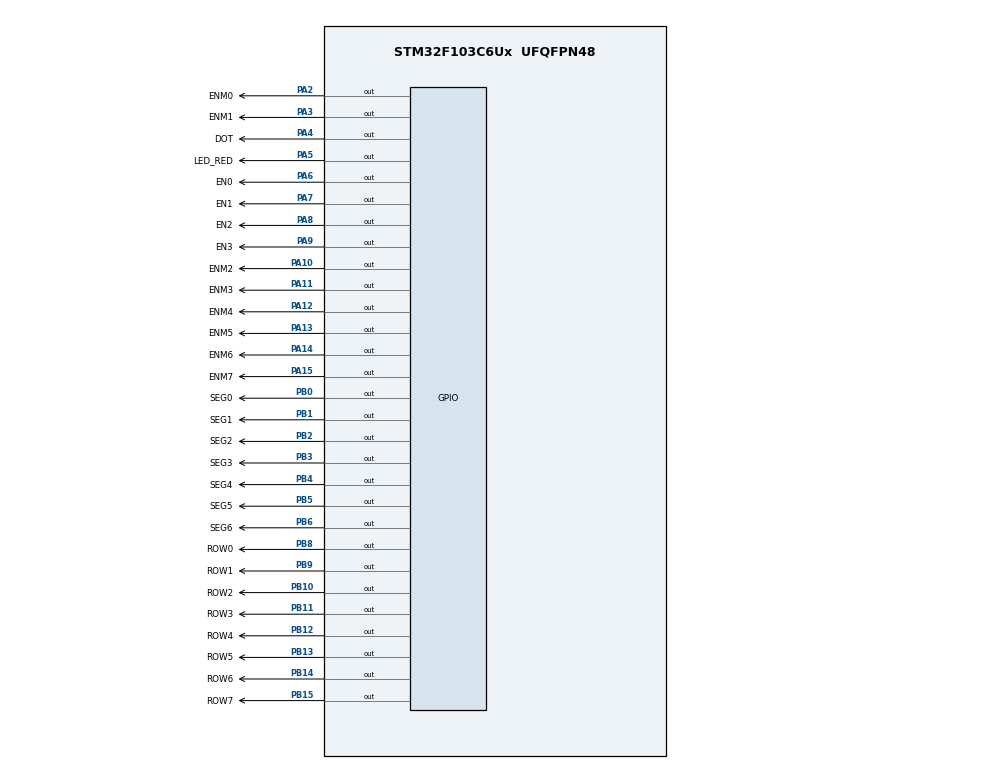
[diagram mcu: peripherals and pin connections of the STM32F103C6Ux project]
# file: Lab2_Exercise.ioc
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Mcu.Family=STM32F1
Mcu.Name=STM32F103C6Ux
Mcu.Package=UFQFPN48
NVIC.PriorityGroup=NVIC_PRIORITYGROUP_4
NVIC.TIM2_IRQn=true\:0\:0\:false\:false\:true\:true\:true
PA10.GPIO_Label=ENM2
PA10.Signal=GPIO_Output
PA11.GPIO_Label=ENM3
PA11.Signal=GPIO_Output
PA12.GPIO_Label=ENM4
PA12.Signal=GPIO_Output
PA13.GPIO_Label=ENM5
PA13.Signal=GPIO_Output
PA14.GPIO_Label=ENM6
PA14.Signal=GPIO_Output
PA15.GPIO_Label=ENM7
PA15.Signal=GPIO_Output
PA2.GPIO_Label=ENM0
PA2.Signal=GPIO_Output
PA3.GPIO_Label=ENM1
PA3.Signal=GPIO_Output
PA4.GPIO_Label=DOT
PA4.Signal=GPIO_Output
PA5.GPIO_Label=LED_RED
PA5.Signal=GPIO_Output
PA6.GPIO_Label=EN0
PA6.Signal=GPIO_Output
PA7.GPIO_Label=EN1
PA7.Signal=GPIO_Output
PA8.GPIO_Label=EN2
PA8.Signal=GPIO_Output
PA9.GPIO_Label=EN3
PA9.Signal=GPIO_Output
PB0.GPIO_Label=SEG0
PB0.Signal=GPIO_Output
PB1.GPIO_Label=SEG1
PB1.Signal=GPIO_Output
PB10.GPIO_Label=ROW2
PB10.Signal=GPIO_Output
PB11.GPIO_Label=ROW3
PB11.Signal=GPIO_Output
PB12.GPIO_Label=ROW4
PB12.Signal=GPIO_Output
PB13.GPIO_Label=ROW5
PB13.Signal=GPIO_Output
PB14.GPIO_Label=ROW6
PB14.Signal=GPIO_Output
PB15.GPIO_Label=ROW7
PB15.Signal=GPIO_Output
PB2.GPIO_Label=SEG2
PB2.Signal=GPIO_Output
PB3.GPIO_Label=SEG3
PB3.Signal=GPIO_Output
PB4.GPIO_Label=SEG4
PB4.Signal=GPIO_Output
PB5.GPIO_Label=SEG5
PB5.Signal=GPIO_Output
PB6.GPIO_Label=SEG6
PB6.Signal=GPIO_Output
PB8.GPIO_Label=ROW0
PB8.Signal=GPIO_Output
PB9.GPIO_Label=ROW1
PB9.Signal=GPIO_Output
ProjectManager.HeapSize=0x200
ProjectManager.StackSize=0x400
ProjectManager.TargetToolchain=STM32CubeIDE
RCC.APB1Freq_Value=8000000
RCC.APB2Freq_Value=8000000
TIM2.Period=9
TIM2.Prescaler=7999
VP_SYS_VS_ND.Mode=No_Debug
VP_TIM2_VS_ClockSourceINT.Mode=Internal
board=custom

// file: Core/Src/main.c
/* USER CODE BEGIN Header */
/**
  ******************************************************************************
  * @file           : main.c
  * @brief          : Main program body
  ******************************************************************************
  * @attention
  *
  * <h2><center>&copy; Copyright (c) 2024 STMicroelectronics.
  * All rights reserved.</center></h2>
  *
  * This software component is licensed by ST under BSD 3-Clause license,
  * the "License"; You may not use this file except in compliance with the
  * License. You may obtain a copy of the License at:
  *                        opensource.org/licenses/BSD-3-Clause
  *
  ******************************************************************************
  */
/* USER CODE END Header */
#include "main.h"

/* USER CODE BEGIN Includes */
#include "display7SEG.h"
/* USER CODE END Includes */

TIM_HandleTypeDef htim2;

void SystemClock_Config(void);
static void MX_GPIO_Init(void);
static void MX_TIM2_Init(void);

/* USER CODE BEGIN 0 */
int hour = 15, minute = 8, second = 50;
void updateClockBuffer();
void update7SEG();
int timer0_counter = 0;
int timer0_flag = 0;
int timer1_counter = 0;
int timer1_flag = 0;
int TIMER_CYCLE = 10;
void setTimer0(int duration){
	timer0_counter = duration / TIMER_CYCLE ;
	timer0_flag = 0;
}
void setTimer1(int duration){
	timer1_counter = duration / TIMER_CYCLE ;
	timer1_flag = 0;
}
void timer_run (){
	if( timer0_counter > 0){
		timer0_counter --;
		if(timer0_counter == 0) timer0_flag = 1;
	}
	if( timer1_counter > 0){
		timer1_counter --;
		if(timer1_counter == 0) timer1_flag = 1;
	}
}
const int MAX_LED = 4;
int index_led = 0;
int led_buffer[4];
void update7SEG(int index){
	switch(index){
	case 0:
		display7SEG(led_buffer[0]);
		HAL_GPIO_WritePin(EN0_GPIO_Port, EN0_Pin, RESET);
		HAL_GPIO_WritePin(EN1_GPIO_Port, EN1_Pin, SET);
		HAL_GPIO_WritePin(EN2_GPIO_Port, EN2_Pin, SET);
		HAL_GPIO_WritePin(EN3_GPIO_Port, EN3_Pin, SET);
		break;
	case 1:
		display7SEG(led_buffer[1]);
		HAL_GPIO_WritePin(EN0_GPIO_Port, EN0_Pin, SET);
		HAL_GPIO_WritePin(EN1_GPIO_Port, EN1_Pin, RESET);
		HAL_GPIO_WritePin(EN2_GPIO_Port, EN2_Pin, SET);
		HAL_GPIO_WritePin(EN3_GPIO_Port, EN3_Pin, SET);
		break;
	case 2:
		display7SEG(led_buffer[2]);
		HAL_GPIO_WritePin(EN0_GPIO_Port, EN0_Pin, SET);
		HAL_GPIO_WritePin(EN1_GPIO_Port, EN1_Pin, SET);
		HAL_GPIO_WritePin(EN2_GPIO_Port, EN2_Pin, RESET);
		HAL_GPIO_WritePin(EN3_GPIO_Port, EN3_Pin, SET);
		break;
	case 3:
		display7SEG(led_buffer[3]);
		HAL_GPIO_WritePin(EN0_GPIO_Port, EN0_Pin, SET);
		HAL_GPIO_WritePin(EN1_GPIO_Port, EN1_Pin, SET);
		HAL_GPIO_WritePin(EN2_GPIO_Port, EN2_Pin, SET);
		HAL_GPIO_WritePin(EN3_GPIO_Port, EN3_Pin, RESET);
		break;
	default:
		break;
	}
}
void updateClockBuffer(){
	led_buffer[0] = (hour / 10) % 10;
	led_buffer[1] = hour % 10;
	led_buffer[2] = (minute / 10) % 10;
	led_buffer[3] = minute % 10;
}
/* USER CODE END 0 */

int main(void)
{

  /* MCU Configuration--------------------------------------------------------*/

  /* Reset of all peripherals, Initializes the Flash interface and the Systick. */
  HAL_Init();

  /* Configure the system clock */
  SystemClock_Config();

  /* Initialize all configured peripherals */
  MX_GPIO_Init();
  MX_TIM2_Init();
  /* USER CODE BEGIN 2 */
  HAL_TIM_Base_Start_IT(&htim2);
  /* USER CODE END 2 */

  /* Infinite loop */
  /* USER CODE BEGIN WHILE */
  setTimer0(500);
  setTimer1(500);
  while (1)
  {
	  if(timer0_flag == 1){
		  setTimer0(1000);
		  second++ ;
		  if(second >= 60){
			  second = 0 ;
			  minute++;
		  }
		  if(minute >= 60){
			 minute = 0;
			 hour++;
		  }
		  if(hour >= 24 ){
			  hour = 0;
		  }
		  updateClockBuffer();
		  HAL_GPIO_TogglePin(LED_RED_GPIO_Port, LED_RED_Pin);
		  HAL_GPIO_TogglePin(DOT_GPIO_Port, DOT_Pin);
	  }
	  if(timer1_flag == 1){
		  setTimer1(250);

		  if(index_led >= MAX_LED ) index_led = 0 ;
		  update7SEG(index_led++);
	  }
    /* USER CODE END WHILE */

  }
}

void SystemClock_Config(void)
{
  RCC_OscInitTypeDef RCC_OscInitStruct = {0};
  RCC_ClkInitTypeDef RCC_ClkInitStruct = {0};

  /** Initializes the RCC Oscillators according to the specified parameters
  * in the RCC_OscInitTypeDef structure.
  */
  RCC_OscInitStruct.OscillatorType = RCC_OSCILLATORTYPE_HSI;
  RCC_OscInitStruct.HSIState = RCC_HSI_ON;
  RCC_OscInitStruct.HSICalibrationValue = RCC_HSICALIBRATION_DEFAULT;
  RCC_OscInitStruct.PLL.PLLState = RCC_PLL_NONE;
  if (HAL_RCC_OscConfig(&RCC_OscInitStruct) != HAL_OK)
  {
    Error_Handler();
  }
  /** Initializes the CPU, AHB and APB buses clocks
  */
  RCC_ClkInitStruct.ClockType = RCC_CLOCKTYPE_HCLK|RCC_CLOCKTYPE_SYSCLK
                              |RCC_CLOCKTYPE_PCLK1|RCC_CLOCKTYPE_PCLK2;
  RCC_ClkInitStruct.SYSCLKSource = RCC_SYSCLKSOURCE_HSI;
  RCC_ClkInitStruct.AHBCLKDivider = RCC_SYSCLK_DIV1;
  RCC_ClkInitStruct.APB1CLKDivider = RCC_HCLK_DIV1;
  RCC_ClkInitStruct.APB2CLKDivider = RCC_HCLK_DIV1;

  if (HAL_RCC_ClockConfig(&RCC_ClkInitStruct, FLASH_LATENCY_0) != HAL_OK)
  {
    Error_Handler();
  }
}

static void MX_TIM2_Init(void)
{

  TIM_ClockConfigTypeDef sClockSourceConfig = {0};
  TIM_MasterConfigTypeDef sMasterConfig = {0};

  htim2.Instance = TIM2;
  htim2.Init.Prescaler = 7999;
  htim2.Init.CounterMode = TIM_COUNTERMODE_UP;
  htim2.Init.Period = 9;
  htim2.Init.ClockDivision = TIM_CLOCKDIVISION_DIV1;
  htim2.Init.AutoReloadPreload = TIM_AUTORELOAD_PRELOAD_DISABLE;
  if (HAL_TIM_Base_Init(&htim2) != HAL_OK)
  {
    Error_Handler();
  }
  sClockSourceConfig.ClockSource = TIM_CLOCKSOURCE_INTERNAL;
  if (HAL_TIM_ConfigClockSource(&htim2, &sClockSourceConfig) != HAL_OK)
  {
    Error_Handler();
  }
  sMasterConfig.MasterOutputTrigger = TIM_TRGO_RESET;
  sMasterConfig.MasterSlaveMode = TIM_MASTERSLAVEMODE_DISABLE;
  if (HAL_TIMEx_MasterConfigSynchronization(&htim2, &sMasterConfig) != HAL_OK)
  {
    Error_Handler();
  }

}

static void MX_GPIO_Init(void)
{
  GPIO_InitTypeDef GPIO_InitStruct = {0};

  /* GPIO Ports Clock Enable */
  __HAL_RCC_GPIOA_CLK_ENABLE();
  __HAL_RCC_GPIOB_CLK_ENABLE();

  /*Configure GPIO pin Output Level */
  HAL_GPIO_WritePin(GPIOA, DOT_Pin|LED_RED_Pin|EN0_Pin|EN1_Pin
                          |EN2_Pin|EN3_Pin, GPIO_PIN_RESET);

  /*Configure GPIO pin Output Level */
  HAL_GPIO_WritePin(GPIOB, SEG0_Pin|SEG1_Pin|SEG2_Pin|SEG3_Pin
                          |SEG4_Pin|SEG5_Pin|SEG6_Pin, GPIO_PIN_RESET);

  /*Configure GPIO pins : DOT_Pin LED_RED_Pin EN0_Pin EN1_Pin
                           EN2_Pin EN3_Pin */
  GPIO_InitStruct.Pin = DOT_Pin|LED_RED_Pin|EN0_Pin|EN1_Pin
                          |EN2_Pin|EN3_Pin;
  GPIO_InitStruct.Mode = GPIO_MODE_OUTPUT_PP;
  GPIO_InitStruct.Pull = GPIO_NOPULL;
  GPIO_InitStruct.Speed = GPIO_SPEED_FREQ_LOW;
  HAL_GPIO_Init(GPIOA, &GPIO_InitStruct);

  /*Configure GPIO pins : SEG0_Pin SEG1_Pin SEG2_Pin SEG3_Pin
                           SEG4_Pin SEG5_Pin SEG6_Pin */
  GPIO_InitStruct.Pin = SEG0_Pin|SEG1_Pin|SEG2_Pin|SEG3_Pin
                          |SEG4_Pin|SEG5_Pin|SEG6_Pin;
  GPIO_InitStruct.Mode = GPIO_MODE_OUTPUT_PP;
  GPIO_InitStruct.Pull = GPIO_NOPULL;
  GPIO_InitStruct.Speed = GPIO_SPEED_FREQ_LOW;
  HAL_GPIO_Init(GPIOB, &GPIO_InitStruct);

}

/* USER CODE BEGIN 4 */

void HAL_TIM_PeriodElapsedCallback(TIM_HandleTypeDef * htim){
	timer_run();
}

/* USER CODE END 4 */

void Error_Handler(void)
{
  __disable_irq();
  while (1)
  {
  }
}

/************************ (C) COPYRIGHT STMicroelectronics *****END OF FILE****/
